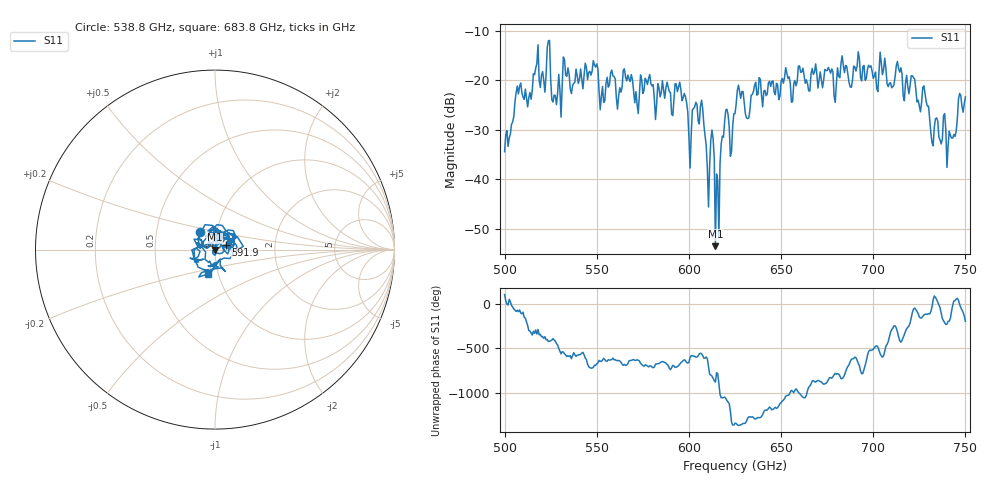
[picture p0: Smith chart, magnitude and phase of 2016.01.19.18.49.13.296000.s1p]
!Created with skrf (http://scikit-rf.org).
# GHz S RI R 50.0
!freq ReS11 ImS11
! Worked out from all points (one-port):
!   401 points, 500 GHz to 750 GHz, reference 50 ohm
!   lowest |S11| = -53.5 dB at 614.4 GHz (marker M1), VSWR 1.00, Z = 49.8 - j0.0758 ohm
!   |S11| at or under -10 dB: start of sweep to end of sweep
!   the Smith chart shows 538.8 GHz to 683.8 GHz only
!   S11 on the Smith chart (normalised r, x): 538.8 GHz: 0.83, +0.17; 591.9 GHz: 1.12, +0.05; 683.8 GHz: 0.89, -0.25
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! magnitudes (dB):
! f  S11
! 500 GHz  -34.4
! 516.9 GHz  -17.5
! 520.6 GHz  -18.2
! 523.8 GHz  -12.0
! 526.9 GHz  -23.0
! 531.2 GHz  -21.0
! 538.8 GHz  -17.7
! 549.4 GHz  -17.3
! 553.1 GHz  -21.2
! 558.8 GHz  -19.1
! 562.5 GHz  -21.5
! 591.9 GHz  -23.9
! 593.8 GHz  -22.3
! 600.6 GHz  -37.7
! 607.5 GHz  -25.8
! 610 GHz  -37.8
! 612.5 GHz  -30.0
! 614.4 GHz  -53.5
! 615.6 GHz  -40.2
! 619.4 GHz  -28.3
! 623.1 GHz  -34.4
! 625 GHz  -26.7
! 656.2 GHz  -24.3
! 683.8 GHz  -17.0
! 687.5 GHz  -21.3
! 718.8 GHz  -21.3
! 741.2 GHz  -30.3
! 750 GHz  -23.3
